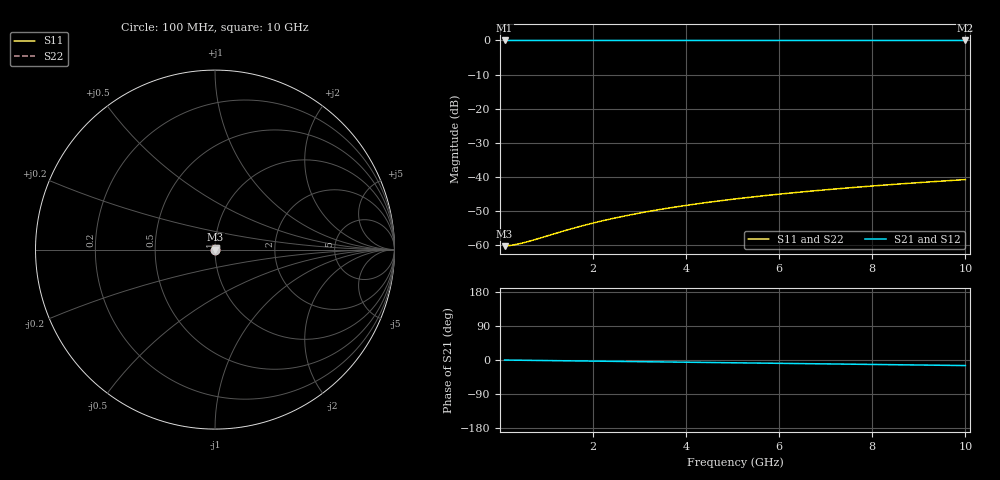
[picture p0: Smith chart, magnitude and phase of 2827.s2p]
# Hz S RI R 50.00
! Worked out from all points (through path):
!   100 points, 100 MHz to 10 GHz, reference 50 ohm
!   highest |S21| = -0.01 dB at 100 MHz (marker M1); lowest = 0.0 dB at 10 GHz (marker M2)
!   group delay of S21, straight-line fit = 4.08 ps
!   lowest |S11| = -60.3 dB at 100 MHz (marker M3), VSWR 1.00, Z = 50.1 + j0.00909 ohm
!   |S11| at or under -10 dB: start of sweep to end of sweep
!   |S22| runs from -60.3 to -40.8 dB; largest |S21 - S12| = 0
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1e8  0.000958 9.07e-05  0.999 -0.00254  0.999 -0.00254  0.000958 9.07e-05
2e8  0.000964 0.000181  0.999 -0.00509  0.999 -0.00509  0.000964 0.000181
3e8  0.000969 0.000272  0.999 -0.00763  0.999 -0.00763  0.000969 0.000272
4e8  0.000973 0.000363  0.999 -0.0102  0.999 -0.0102  0.000973 0.000363
6e8  0.000982 0.000544  0.9989 -0.0153  0.9989 -0.0153  0.000982 0.000544
8e8  0.000992 0.000724  0.9988 -0.0204  0.9988 -0.0204  0.000992 0.000724
1.4e9  0.00103 0.00126  0.9983 -0.0356  0.9983 -0.0356  0.00103 0.00126
1.8e9  0.00106 0.00162  0.9979 -0.0458  0.9979 -0.0458  0.00106 0.00162
2.2e9  0.0011 0.00198  0.9974 -0.056  0.9974 -0.056  0.0011 0.00198
2.6e9  0.00114 0.00234  0.9968 -0.0661  0.9968 -0.0661  0.00114 0.00234
3e9  0.00119 0.00269  0.996 -0.0763  0.996 -0.0763  0.00119 0.00269
3.4e9  0.00125 0.00304  0.9952 -0.0865  0.9952 -0.0865  0.00125 0.00304
3.8e9  0.00132 0.00339  0.9942 -0.0966  0.9942 -0.0966  0.00132 0.00339
4.2e9  0.00139 0.00374  0.9932 -0.1068  0.9932 -0.1068  0.00139 0.00374
4.6e9  0.00147 0.00408  0.992 -0.1169  0.992 -0.1169  0.00147 0.00408
5.1e9  0.00158 0.00451  0.9904 -0.1296  0.9904 -0.1296  0.00158 0.00451
5.9e9  0.00178 0.00519  0.9875 -0.1499  0.9875 -0.1499  0.00178 0.00519
6.7e9  0.00201 0.00586  0.9842 -0.1701  0.9842 -0.1701  0.00201 0.00586
7.5e9  0.00226 0.00652  0.9805 -0.1903  0.9805 -0.1903  0.00226 0.00652
8.4e9  0.00258 0.00725  0.9758 -0.2129  0.9758 -0.2129  0.00258 0.00725
9.2e9  0.0029 0.00789  0.9712 -0.233  0.9712 -0.233  0.0029 0.00789
1e10  0.00324 0.00852  0.9662 -0.253  0.9662 -0.253  0.00324 0.00852
